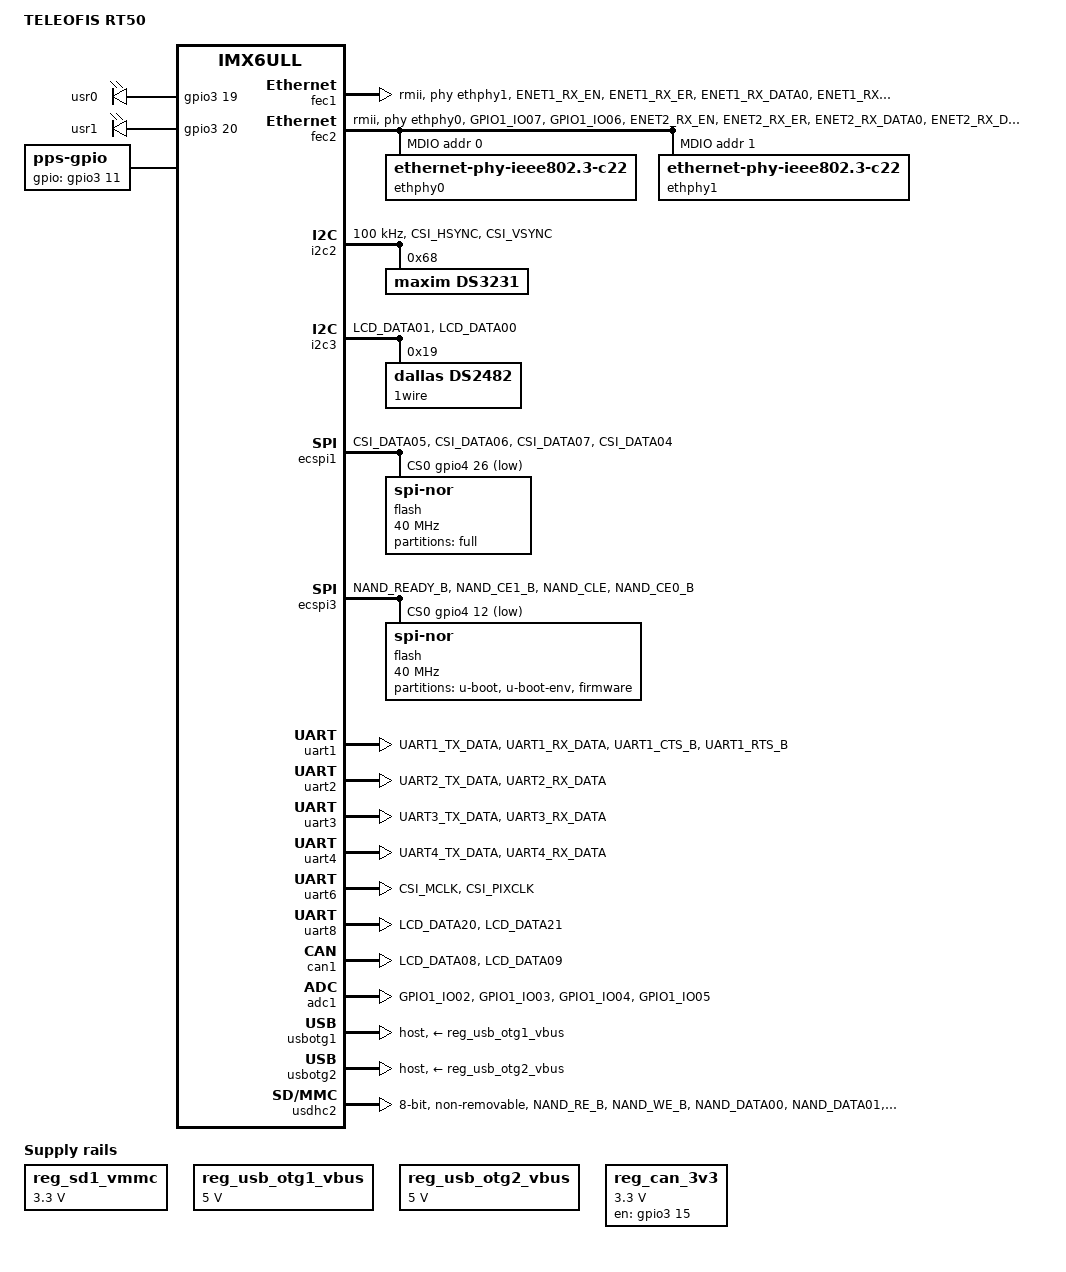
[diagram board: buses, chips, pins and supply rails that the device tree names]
/*
 * Copyright (C) 2015 Freescale Semiconductor, Inc.
 *
 * This program is free software; you can redistribute it and/or modify
 * it under the terms of the GNU General Public License version 2 as
 * published by the Free Software Foundation.
 */

/dts-v1/;

#include <dt-bindings/input/input.h>
#include "imx6ull.dtsi"

/ {
	model = "TELEOFIS RT50";
	compatible = "fsl,imx6ull-14x14-evk", "fsl,imx6ull";

	chosen {
		bootargs = "console=ttymxc0,115200 root=/dev/mtdblock4";
	};

	leds {
		compatible = "gpio-leds";
		pinctrl-names = "default";
		pinctrl-0 = <&pinctrl_leds>;
		usr0 {
				label = "usr0";
				gpios = <&gpio3 19 GPIO_ACTIVE_HIGH>;
				default-state = "off";
		};
	  
		usr1 {
				label = "usr1";
				gpios = <&gpio3 20 GPIO_ACTIVE_HIGH>;
				default-state = "on";
		};			
	};

	pps {
		compatible = "pps-gpio";
		pinctrl-names = "default";
		pinctrl-0 = <&pinctrl_pps>;
		gpios = <&gpio3 11 GPIO_ACTIVE_HIGH>;
		status = "okay";
	};

	regulators {
		compatible = "simple-bus";
		#address-cells = <1>;
		#size-cells = <0>;

		reg_sd1_vmmc: regulator@1 {
			compatible = "regulator-fixed";
			regulator-name = "VSD_3V3";
			regulator-min-microvolt = <3300000>;
			regulator-max-microvolt = <3300000>;
			enable-active-high;
			regulator-always-on;
		};

		reg_usb_otg1_vbus: usb1@2 {
			compatible = "regulator-fixed";
			reg = <2>;
			/*pinctrl-names = "default";
			pinctrl-0 = <&pinctrl_usb_otg1>;*/
			regulator-name = "usb_otg1_vbus";
			regulator-min-microvolt = <5000000>;
			regulator-max-microvolt = <5000000>;
			/*gpio = <&gpio2 16 GPIO_ACTIVE_HIGH>;
			enable-active-high;*/
		};

		reg_usb_otg2_vbus: usb2@3 {
			compatible = "regulator-fixed";
			reg = <3>;
			/*pinctrl-names = "default";
			pinctrl-0 = <&pinctrl_usb_otg2>;*/
			regulator-name = "usb_otg2_vbus";
			regulator-min-microvolt = <5000000>;
			regulator-max-microvolt = <5000000>;
			/*gpio = <&gpio5 2 GPIO_ACTIVE_HIGH>;
			enable-active-high;*/
		};

		reg_can_3v3: regulator-can-3v3 {
			compatible = "regulator-fixed";
			regulator-name = "can-3v3";
			regulator-min-microvolt = <3300000>;
			regulator-max-microvolt = <3300000>;
			gpio = <&gpio3 15 GPIO_ACTIVE_LOW>;
			enable-active-high;
		};

	};
};

&cpu0 {
	arm-supply = <&reg_arm>;
	soc-supply = <&reg_soc>;
};

&clks {
	assigned-clocks = <&clks IMX6UL_CLK_PLL4_AUDIO_DIV>;
	assigned-clock-rates = <786432000>;
};

&fec1 {
	pinctrl-names = "default";
	pinctrl-0 = <&pinctrl_enet1>;
	phy-mode = "rmii";
	phy-handle = <&ethphy1>;	
	status = "okay";
};

&fec2 {
	pinctrl-names = "default";
	pinctrl-0 = <&pinctrl_enet2>;
	phy-mode = "rmii";
	phy-handle = <&ethphy0>;
	/*
	phy-reset-gpios = <&gpio1 8 GPIO_ACTIVE_LOW>;
	phy-reset-duration = <100>;	
	phy-reset-post-delay=<20>;
	*/
	status = "okay";

	mdio {
		#address-cells = <1>;
		#size-cells = <0>;
		
		ethphy0: ethernet-phy@0 {
			reg = <0>;
			compatible = "ethernet-phy-ieee802.3-c22";
			smsc,disable-energy-detect;
		};
		ethphy1: ethernet-phy@1 {
			reg = <1>;
			compatible = "ethernet-phy-ieee802.3-c22";
			smsc,disable-energy-detect;
		};
	};
};

&i2c2 {
	clock-frequency = <100000>;
	pinctrl-names = "default";
	pinctrl-0 = <&pinctrl_i2c2>;
	status = "okay";
	ds3231: ds3231@68 {
		compatible = "maxim,ds3231";
		reg = <0x68>;
		#clock-cells = <1>;
	};
};

&i2c3 {
	clock_frequency = <100000>;
	pinctrl-names = "default";
	pinctrl-0 = <&pinctrl_i2c3>;
	status = "okay";
	1wire@19 {
		compatible = "dallas,ds2482";
		reg = <0x19>;
	};
};


&iomuxc {
	pinctrl-names = "default";
	pinctrl-0 = <&pinctrl_hog_1>;
	imx6ul-evk {
		pinctrl_hog_1: hoggrp-1 {
			fsl,pins = <
				MX6UL_PAD_SD1_CMD__GPIO2_IO16		0x17099	/* USB1 PWR EN */
				MX6UL_PAD_SNVS_TAMPER2__GPIO5_IO02	0x17099	/* USB2 HUB PWR EN */
				MX6UL_PAD_SD1_DATA2__GPIO2_IO20		0x17099	/* PWR EN EXTM */				
				MX6UL_PAD_SD1_DATA3__GPIO2_IO21		0x17099	/* RESET_I2C_EXPANDER# */
				/*MX6UL_PAD_GPIO1_IO08__GPIO1_IO08	0x17099	 RS485_EN_2 */

				MX6UL_PAD_SNVS_TAMPER1__GPIO5_IO01	0x17099	/* SWITCH_SIM */
				MX6UL_PAD_UART2_RTS_B__GPIO1_IO23	0x17099	/* PWR_EN_WM */
				MX6UL_PAD_SD1_CLK__GPIO2_IO17		0x17099	/* SIM_DET_2 */
				MX6UL_PAD_CSI_DATA03__GPIO4_IO24	0x17099	/* SIM_DET_1 */
				MX6UL_PAD_GPIO1_IO01__GPIO1_IO01	0x17099	/* PWRKEY_WM */
				MX6UL_PAD_LCD_DATA13__GPIO3_IO18	0x17099	/* SIM_DET_EMUL */

				MX6UL_PAD_UART3_RTS_B__GPIO1_IO27	0x17099	/* PWR_EN_GPS */
				
				/*MX6UL_PAD_ENET2_RX_EN__GPIO2_IO10	0x17099 /* PWR_EN_GPS_ANT */
				/*MX6UL_PAD_ENET1_RX_EN__GPIO2_IO02	0x17099 /* RESET_GPSGNSS# */
				
				MX6UL_PAD_SD1_DATA1__GPIO2_IO19		0x17099 /* USB1_OTG_EMUL */

				MX6UL_PAD_CSI_DATA02__GPIO4_IO23	0x17099 /* GPIO_1_1 PD1 */
				MX6UL_PAD_GPIO1_IO09__GPIO1_IO09	0x17099 /* GPIO_1_2 PU1 */
				MX6UL_PAD_LCD_DATA03__GPIO3_IO08	0x17099 /* GPIO_2_1 PD2 */
				MX6UL_PAD_LCD_DATA04__GPIO3_IO09	0x17099 /* GPIO_2_2 PU2 */
				MX6UL_PAD_SNVS_TAMPER6__GPIO5_IO06	0x17099 /* GPIO_3_1 PD3 */
				MX6UL_PAD_LCD_DATA07__GPIO3_IO12	0x17099 /* GPIO_3_2 PU3 */
				MX6UL_PAD_LCD_DATA11__GPIO3_IO16	0x17099 /* GPIO_4_1 PD4 */
				MX6UL_PAD_LCD_DATA12__GPIO3_IO17	0x17099 /* GPIO_4_2 PU4 */

				MX6UL_PAD_SD1_DATA2__GPIO2_IO20		0x17099 /* PWR_EN_EXTM */
				MX6UL_PAD_SNVS_TAMPER4__GPIO5_IO04	0x17099 /* PWR_EN_INTM */
			>;
		};

		pinctrl_leds: ledsgrp {
			fsl,pins = <
				MX6UL_PAD_LCD_DATA14__GPIO3_IO19	0x10b0	/* LED 0 */
				MX6UL_PAD_LCD_DATA15__GPIO3_IO20	0x10b0	/* LED 1 */	
			>;
		};

		pinctrl_pps: ppsgrp {
			fsl,pins = <
				MX6UL_PAD_LCD_DATA06__GPIO3_IO11	0x10b0	/* LED 0 */
			>;
		};

		pinctrl_enet1: enet1grp {
			fsl,pins = <
				MX6UL_PAD_ENET1_RX_EN__ENET1_RX_EN			0x1b0b0
				MX6UL_PAD_ENET1_RX_ER__ENET1_RX_ER		0x1b0b0
				MX6UL_PAD_ENET1_RX_DATA0__ENET1_RDATA00	0x1b0b0
				MX6UL_PAD_ENET1_RX_DATA1__ENET1_RDATA01	0x1b0b0
				MX6UL_PAD_ENET1_TX_EN__ENET1_TX_EN		0x1b0b0
				MX6UL_PAD_ENET1_TX_DATA0__ENET1_TDATA00	0x1b0b0
				MX6UL_PAD_ENET1_TX_DATA1__ENET1_TDATA01	0x1b0b0
				MX6UL_PAD_ENET1_TX_CLK__ENET1_REF_CLK1	0x4001b031
			>;
		};

		pinctrl_enet2: enet2grp {
			fsl,pins = <
				MX6UL_PAD_GPIO1_IO07__ENET2_MDC		0x1b0b0
				MX6UL_PAD_GPIO1_IO06__ENET2_MDIO	0x1b0b0

				MX6UL_PAD_ENET2_RX_EN__ENET2_RX_EN			0x1b0b0
				MX6UL_PAD_ENET2_RX_ER__ENET2_RX_ER		0x1b0b0 
				MX6UL_PAD_ENET2_RX_DATA0__ENET2_RDATA00	0x1b0b0
				MX6UL_PAD_ENET2_RX_DATA1__ENET2_RDATA01	0x1b0b0
				MX6UL_PAD_ENET2_TX_EN__ENET2_TX_EN		0x1b0b0
				MX6UL_PAD_ENET2_TX_DATA0__ENET2_TDATA00	0x1b0b0
				MX6UL_PAD_ENET2_TX_DATA1__ENET2_TDATA01	0x1b0b0
				MX6UL_PAD_ENET2_TX_CLK__ENET2_REF_CLK2	0x4001b031

				MX6UL_PAD_GPIO1_IO08__GPIO1_IO08		0x1b0b0
			>;
		};

		pinctrl_i2c2: i2c2grp {
			fsl,pins = <
				MX6UL_PAD_CSI_HSYNC__I2C2_SCL	 0x4001b8b0
				MX6UL_PAD_CSI_VSYNC__I2C2_SDA	 0x4001b8b0
			>;
		}; 
		

		pinctrl_i2c3: i2c3grp {
			fsl,pins = <
				MX6UL_PAD_LCD_DATA01__I2C3_SCL	  0x4001b8b0
				MX6UL_PAD_LCD_DATA00__I2C3_SDA	  0x4001b8b0
			>;
		}; 

		pinctrl_pwm8: pwm8grp {
			fsl,pins = <
				MX6UL_PAD_CSI_HSYNC__PWM8_OUT       0x110b0
			>;
		};

		pinctrl_uart1: uart1grp {
			fsl,pins = <
				MX6UL_PAD_UART1_TX_DATA__UART1_DCE_TX 0x1b0b1
				MX6UL_PAD_UART1_RX_DATA__UART1_DCE_RX 0x1b0b1
				MX6UL_PAD_UART1_CTS_B__UART1_DCE_CTS  0x1b0b1
				MX6UL_PAD_UART1_RTS_B__UART1_DCE_RTS  0x1b0b1
			>;
		};

		pinctrl_uart2: uart2grp {
			fsl,pins = <
				MX6UL_PAD_UART2_TX_DATA__UART2_DCE_TX	 0x1b0b1
				MX6UL_PAD_UART2_RX_DATA__UART2_DCE_RX	 0x1b0b1
			>;
		};

		pinctrl_uart3: uart3grp {
			fsl,pins = <
				MX6UL_PAD_UART3_TX_DATA__UART3_DCE_TX	0x1b0b1
				MX6UL_PAD_UART3_RX_DATA__UART3_DCE_RX	0x1b0b1
			>;
		};

		pinctrl_uart4: uart4grp {
			fsl,pins = <
				MX6UL_PAD_UART4_TX_DATA__UART4_DCE_TX	0x1b0b1
				MX6UL_PAD_UART4_RX_DATA__UART4_DCE_RX	0x1b0b1
			>;
		};

		pinctrl_uart6: uart6grp {
			fsl,pins = <
				MX6UL_PAD_CSI_MCLK__UART6_DCE_TX		0x1b0b1
				MX6UL_PAD_CSI_PIXCLK__UART6_DCE_RX		0x1b0b1
			>;
		};

		pinctrl_uart8: uart8grp {
			fsl,pins = <
				MX6UL_PAD_LCD_DATA20__UART8_DCE_TX		0x1b0b1
				MX6UL_PAD_LCD_DATA21__UART8_DCE_RX		0x1b0b1
			>;
		};

		pinctrl_flexcan1: flexcan1grp{
			fsl,pins = <
				MX6UL_PAD_LCD_DATA08__FLEXCAN1_TX		0x1b020
				MX6UL_PAD_LCD_DATA09__FLEXCAN1_RX		0x1b020
				/*MX6UL_PAD_LCD_DATA10__GPIO3_IO15		0x17099 */
			>;
		};

		pinctrl_flexcan1_stby: flexcan1stby {
			fsl,pins = <
				MX6UL_PAD_GPIO1_IO05__GPIO1_IO05	0x17059
			>;
		};
		
		pinctrl_wifi: wifigrp {
			fsl,pins = <
				MX6UL_PAD_GPIO1_IO05__GPIO1_IO05	0x17059 /* WLAN reg enable */
			>;
		};

		pinctrl_bt: btgrp {
			fsl,pins = <
				MX6UL_PAD_CSI_MCLK__GPIO4_IO17		0x17059 /* BT reg enable */
			>;
		};

		pinctrl_usdhc2: usdhc2grp {
			fsl,pins = <
				MX6UL_PAD_NAND_RE_B__USDHC2_CLK     0x10069
				MX6UL_PAD_NAND_WE_B__USDHC2_CMD     0x17059
				MX6UL_PAD_NAND_DATA00__USDHC2_DATA0 0x17059
				MX6UL_PAD_NAND_DATA01__USDHC2_DATA1 0x17059
				MX6UL_PAD_NAND_DATA02__USDHC2_DATA2 0x17059
				MX6UL_PAD_NAND_DATA03__USDHC2_DATA3 0x17059
			>;
		};

		pinctrl_usdhc2_8bit: usdhc2grp_8bit {
			fsl,pins = <
				MX6UL_PAD_NAND_RE_B__USDHC2_CLK     0x10069
				MX6UL_PAD_NAND_WE_B__USDHC2_CMD     0x17059
				MX6UL_PAD_NAND_DATA00__USDHC2_DATA0 0x17059
				MX6UL_PAD_NAND_DATA01__USDHC2_DATA1 0x17059
				MX6UL_PAD_NAND_DATA02__USDHC2_DATA2 0x17059
				MX6UL_PAD_NAND_DATA03__USDHC2_DATA3 0x17059
				MX6UL_PAD_NAND_DATA04__USDHC2_DATA4 0x17059
				MX6UL_PAD_NAND_DATA05__USDHC2_DATA5 0x17059
				MX6UL_PAD_NAND_DATA06__USDHC2_DATA6 0x17059
				MX6UL_PAD_NAND_DATA07__USDHC2_DATA7 0x17059
			>;
		};

		pinctrl_usdhc2_8bit_100mhz: usdhc2grp_8bit_100mhz {
			fsl,pins = <
				MX6UL_PAD_NAND_RE_B__USDHC2_CLK     0x100b9
				MX6UL_PAD_NAND_WE_B__USDHC2_CMD     0x170b9
				MX6UL_PAD_NAND_DATA00__USDHC2_DATA0 0x170b9
				MX6UL_PAD_NAND_DATA01__USDHC2_DATA1 0x170b9
				MX6UL_PAD_NAND_DATA02__USDHC2_DATA2 0x170b9
				MX6UL_PAD_NAND_DATA03__USDHC2_DATA3 0x170b9
				MX6UL_PAD_NAND_DATA04__USDHC2_DATA4 0x170b9
				MX6UL_PAD_NAND_DATA05__USDHC2_DATA5 0x170b9
				MX6UL_PAD_NAND_DATA06__USDHC2_DATA6 0x170b9
				MX6UL_PAD_NAND_DATA07__USDHC2_DATA7 0x170b9
			>;
		};

		pinctrl_usdhc2_8bit_200mhz: usdhc2grp_8bit_200mhz {
			fsl,pins = <
				MX6UL_PAD_NAND_RE_B__USDHC2_CLK     0x100f9
				MX6UL_PAD_NAND_WE_B__USDHC2_CMD     0x170f9
				MX6UL_PAD_NAND_DATA00__USDHC2_DATA0 0x170f9
				MX6UL_PAD_NAND_DATA01__USDHC2_DATA1 0x170f9
				MX6UL_PAD_NAND_DATA02__USDHC2_DATA2 0x170f9
				MX6UL_PAD_NAND_DATA03__USDHC2_DATA3 0x170f9
				MX6UL_PAD_NAND_DATA04__USDHC2_DATA4 0x170f9
				MX6UL_PAD_NAND_DATA05__USDHC2_DATA5 0x170f9
				MX6UL_PAD_NAND_DATA06__USDHC2_DATA6 0x170f9
				MX6UL_PAD_NAND_DATA07__USDHC2_DATA7 0x170f9
				MX6UL_PAD_NAND_ALE__USDHC2_RESET_B  0x170f9
			>;
		};
		
		/*
		pinctrl_usb_otg1: usbotg1grp {
			fsl,pins = <
				MX6UL_PAD_SD1_CMD__GPIO2_IO16	    0x10b0
			>;
		};

		pinctrl_usb_otg2: usbotg2grp {
			fsl,pins = <
				MX6UL_PAD_SNVS_TAMPER2__GPIO5_IO02	0x10b0
			>;
		};
		*/

		pinctrl_ecspi1: ecspi1grp {
			fsl,pins = <
				MX6UL_PAD_CSI_DATA05__GPIO4_IO26		0x0b0b0 /* CSPI_SS */
				MX6UL_PAD_CSI_DATA06__ECSPI1_MOSI		0x0b0b0 /* CSPI_MOSI */
				MX6UL_PAD_CSI_DATA07__ECSPI1_MISO		0x0b0b0 /* CSPI_MISO */
				MX6UL_PAD_CSI_DATA04__ECSPI1_SCLK		0x0b0b0 /* CSPI_SCLK */
			>;
		};

		pinctrl_ecspi3: ecspi3grp {
			fsl,pins = <
				MX6UL_PAD_NAND_READY_B__GPIO4_IO12		0x0b0b0 /* CSPI_SS */
				MX6UL_PAD_NAND_CE1_B__ECSPI3_MOSI		0x0b0b0 /* CSPI_MOSI */
				MX6UL_PAD_NAND_CLE__ECSPI3_MISO			0x0b0b0 /* CSPI_MISO */
				MX6UL_PAD_NAND_CE0_B__ECSPI3_SCLK		0x0b0b0 /* CSPI_SCLK */
			>;
		};

		pinctrl_adc1: adc1grp {
			fsl,pins = <
				MX6UL_PAD_GPIO1_IO02__GPIO1_IO02 0xb0
				MX6UL_PAD_GPIO1_IO03__GPIO1_IO03 0xb0
				MX6UL_PAD_GPIO1_IO04__GPIO1_IO04 0xb0
				MX6UL_PAD_GPIO1_IO05__GPIO1_IO05 0xb0
			>;
		};

	};
};

&ecspi1 {
	pinctrl-names = "default";
	pinctrl-0 = <&pinctrl_ecspi1>;
	cs-gpios = <&gpio4 26 GPIO_ACTIVE_LOW>;
	status = "okay";

	flash@0 {
		compatible = "jedec,spi-nor";
		reg = <0>;
		spi-max-frequency = <40000000>;
		
		partitions {
			compatible = "fixed-partitions";
			#address-cells = <1>;
			#size-cells = <1>;

			/*
			partition@0 {
				label = "u-boot";
				reg = <0x0 0xc0000>;
			};

			partition@c0000 {
				label = "u-boot-env";
				reg = <0xc0000 0x40000>;
			};

			firmware: partition@100000 {
				compatible = "denx,uimage";
				label = "firmware";
				reg = <0x100000 0x1f00000>;
			};
			*/
			partition@0 {
				label = "full";
				reg = <0x0 0x2000000>;
			};
		};
	};
};

&ecspi3 {
	pinctrl-names = "default";
	pinctrl-0 = <&pinctrl_ecspi3>;
	cs-gpios = <&gpio4 12 GPIO_ACTIVE_LOW>;
	status = "okay";

	flash@0 {
		compatible = "jedec,spi-nor";
		reg = <0>;
		spi-max-frequency = <40000000>;
		
		partitions {
			compatible = "fixed-partitions";
			#address-cells = <1>;
			#size-cells = <1>;

			partition@0 {
				label = "u-boot";
				reg = <0x0 0xc0000>;
			};

			partition@c0000 {
				label = "u-boot-env";
				reg = <0xc0000 0x40000>;
			};

			firmware: partition@100000 {
				compatible = "denx,uimage";
				label = "firmware";
				reg = <0x100000 0x1f00000>;
			};
		};
	};
};

&uart1 {
	pinctrl-names = "default";
	pinctrl-0 = <&pinctrl_uart1>;
	uart-has-rtscts;
	status = "okay";
};

&uart2 {
	pinctrl-names = "default";
	pinctrl-0 = <&pinctrl_uart2>;
	status = "okay";
};

&uart3 {
	pinctrl-names = "default";
	pinctrl-0 = <&pinctrl_uart3>;
	status = "okay";
};

&uart4 {
	pinctrl-names = "default";
	pinctrl-0 = <&pinctrl_uart4>;
	status = "okay";
};

&uart6 {
	pinctrl-names = "default";
	pinctrl-0 = <&pinctrl_uart6>;
	status = "okay";
};

&uart8 {
	pinctrl-names = "default";
	pinctrl-0 = <&pinctrl_uart8>;
	status = "okay";
};

&can1 {
	pinctrl-names = "default";
	pinctrl-0 = <&pinctrl_flexcan1>;
	status = "okay";
};

&adc1 {
	pinctrl-names = "default";
	pinctrl-0 = <&pinctrl_adc1>;
	status = "okay";
};

&usbotg1 {
    vbus-supply = <&reg_usb_otg1_vbus>;
	dr_mode = "host";
	status = "okay";
};

&usbotg2 {
    vbus-supply = <&reg_usb_otg2_vbus>;
	dr_mode = "host";
	status = "okay";
};

&usbphy1 {
	tx-d-cal = <0x5>;
};

&usbphy2 {
	tx-d-cal = <0x5>;
};

&usdhc2 {
	pinctrl-names = "default";
	pinctrl-0 = <&pinctrl_usdhc2_8bit_100mhz>;
	bus-width = <8>;
	broken-cd;
	non-removable;
	no-1-8-v;
	status = "okay";
};
